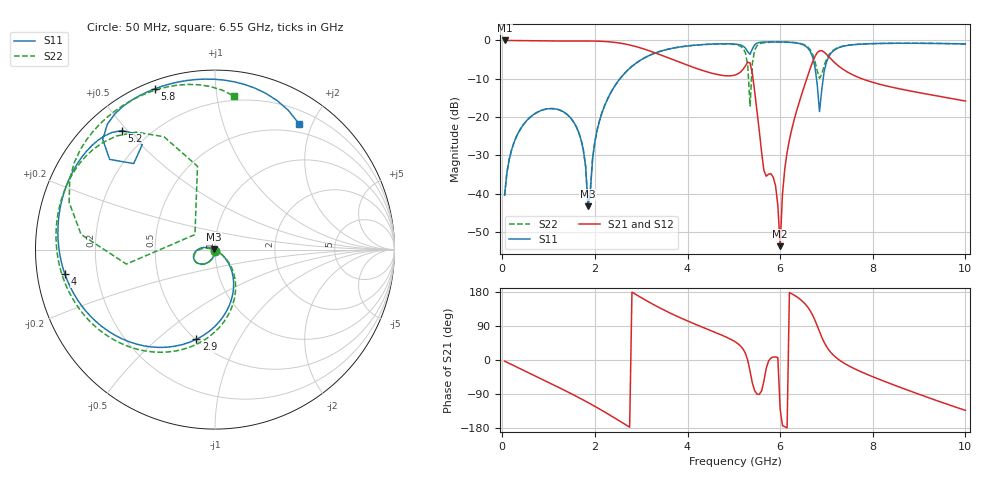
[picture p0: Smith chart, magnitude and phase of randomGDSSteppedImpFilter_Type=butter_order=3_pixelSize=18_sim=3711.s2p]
! freq	dB(S11)	phase(S11)	dB(S12)	phase(S12)
!  dB(S21)	phase(S21)	dB(S22)	phase(S22)
!S-par simulation data
#  GHz  S  DB  R 50
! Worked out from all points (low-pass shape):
!   200 points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, 50 MHz to 10 GHz, reference 50 ohm
!   highest |S21| = 0.00 dB at 50 MHz (marker M1); lowest = -53.7 dB at 6 GHz (marker M2)
!   |S21| within 3 dB of the highest: start of sweep to 3.245 GHz; 6.82 GHz to 6.943 GHz (122.7 MHz wide, 1.78 % of centre)
!   lowest |S11| = -43.4 dB at 1.85 GHz (marker M3), VSWR 1.01, Z = 49.4 + j0.194 ohm
!   |S11| at or under -10 dB: start of sweep to 2.542 GHz; 6.784 GHz to 6.929 GHz (145 MHz wide, 2.11 % of centre)
!   |S22| runs from -42.8 to -0.4 dB; largest |S21 - S12| = 0
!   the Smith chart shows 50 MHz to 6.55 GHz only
!   S11 on the Smith chart (normalised r, x): 50 MHz: 1.00, -0.02; 2.9 GHz: 0.50, -0.68; 4 GHz: 0.08, -0.08; 5.2 GHz: 0.11, +0.48; 5.8 GHz: 0.03, +0.69; 6.55 GHz: 0.37, +1.81
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0.05  -40.45 -92.3  -0.00 -3.0  -0.00 -3.0  -40.44 -92.2
0.75  -18.80 -135.7  -0.11 -44.5  -0.11 -44.5  -18.80 -134.4
1.75  -28.59 163.3  -0.13 -105.6  -0.13 -105.6  -28.61 169.3
1.85  -43.38 163.1  -0.14 -112.2  -0.14 -112.2  -42.77 -174.9
2.15  -18.99 -46.2  -0.23 -132.9  -0.23 -132.9  -18.96 -44.2
2.9  -5.84 -101.7  -1.65 171.7  -1.65 171.7  -5.83 -97.3
3.4  -2.88 -136.1  -3.70 137.6  -3.70 137.6  -2.88 -130.6
4  -1.44 -170.8  -6.49 103.0  -6.49 103.0  -1.43 -164.1
5.05  -0.99 137.1  -8.93 46.3  -8.93 46.3  -1.13 140.4
5.2  -1.49 128.1  -7.53 28.8  -7.53 28.8  -2.07 123.9
5.35  -3.62 133.4  -5.85 -29.6  -5.85 -29.6  -17.10 143.2
5.45  -1.15 135.5  -13.32 -80.9  -13.32 -80.9  -2.49 173.5
5.65  -0.42 119.4  -34.02 -55.0  -34.02 -55.0  -0.59 143.4
5.8  -0.38 110.6  -34.82 5.2  -34.82 5.2  -0.45 132.4
6  -0.40 99.2  -53.75 -129.6  -53.75 -129.6  -0.42 120.5
6.15  -0.45 90.2  -29.26 -179.0  -29.26 -179.0  -0.45 111.9
6.55  -1.48 56.3  -10.89 146.5  -10.89 146.5  -1.30 82.8
6.7  -4.27 32.6  -5.65 118.7  -5.65 118.7  -3.57 66.3
6.85  -18.58 62.7  -2.70 74.8  -2.70 74.8  -9.88 85.2
7  -5.66 109.5  -3.61 35.8  -3.61 35.8  -4.91 112.9
8.35  -0.76 18.5  -12.04 -61.0  -12.04 -61.0  -0.75 37.8
10  -0.93 -58.5  -15.83 -133.0  -15.83 -133.0  -0.89 -40.1
